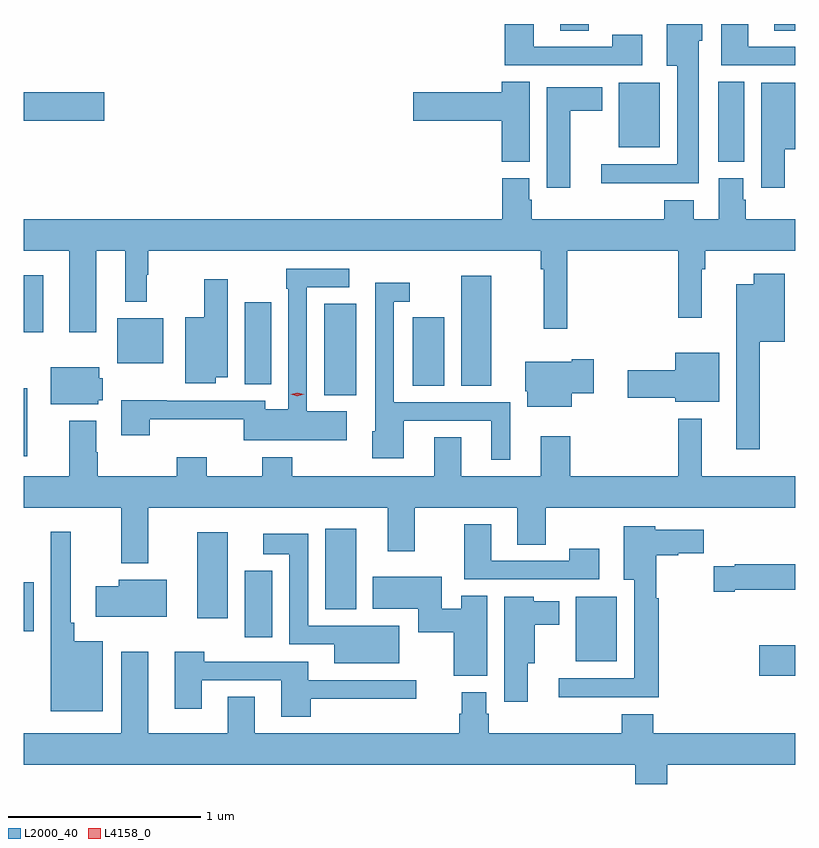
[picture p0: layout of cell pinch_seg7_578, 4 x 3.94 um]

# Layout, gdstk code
import gdstk
lib = gdstk.Library(unit=1e-6, precision=1e-09)
def R(c, l, rs):  # rectangles x0, y0, x1, y1
    for r in rs: c.add(gdstk.rectangle(r[:2], r[2:], *l))
def P(c, l, *ps):  # polygons
    for p in ps: c.add(gdstk.Polygon(p, *l))
L2000_40 = (2000, 40)
L4158_0 = (4158, 0)

pinch_seg7_578 = lib.new_cell('pinch_seg7_578')
R(pinch_seg7_578, L2000_40, [(231.288,1045.034,231.474,1045.192), (230.336,1045.109,230.548,1045.444), (228.62,1045.233,228.763,1045.579), (227.474,1045.265,227.527,1045.519), (228.374,1045.332,228.532,1045.777), (229.037,1045.379,229.198,1045.795), (227.474,1046.172,227.494,1046.524), (229.031,1046.489,229.198,1046.963), (229.49,1046.536,229.654,1046.893), (229.742,1046.536,229.897,1047.106), (228.62,1046.545,228.757,1046.971), (227.96,1046.654,228.199,1046.887), (227.474,1046.814,227.575,1047.109), (231.074,1047.697,231.208,1048.112), (230.558,1047.773,230.77,1048.108), (227.474,1047.911,227.893,1048.058), (230.255,1048.378,230.403,1048.412), (231.365,1048.378,231.474,1048.412)])
P(pinch_seg7_578, L2000_40, [(230.68,1048.357),(230.524,1048.357),(230.524,1048.293),(230.119,1048.293),(230.119,1048.412),(229.967,1048.412),(229.967,1048.197),(230.68,1048.197)],
  [(230.974,1048.326),(230.992,1048.326),(230.992,1048.412),(230.807,1048.412),(230.807,1048.196),(230.861,1048.196),(230.861,1047.684),(230.469,1047.684),(230.469,1047.587),(230.974,1047.587)],
  [(231.474,1048.293),(231.229,1048.293),(231.229,1048.412),(231.089,1048.412),(231.089,1048.197),(231.474,1048.197)],
  [(230.098,1048.112),(229.952,1048.112),(229.952,1048.058),(229.494,1048.058),(229.494,1047.911),(229.952,1047.911),(229.952,1047.697),(230.098,1047.697)],
  [(231.418,1047.764),(231.474,1047.764),(231.474,1048.108),(231.296,1048.108),(231.296,1047.564),(231.418,1047.564)],
  [(230.308,1047.962),(230.473,1047.962),(230.473,1048.084),(230.186,1048.084),(230.186,1047.564),(230.308,1047.564)],
  [(227.474,1047.236),(227.711,1047.236),(227.711,1046.814),(227.851,1046.814),(227.851,1047.236),(228.002,1047.236),(228.002,1046.973),(228.112,1046.973),(228.112,1047.113),(228.119,1047.113),(228.119,1047.236),(230.155,1047.236),(230.155,1047.14),(230.17,1047.14),(230.17,1046.832),(230.291,1046.832),(230.291,1047.236),(230.868,1047.236),(230.868,1046.889),(230.989,1046.889),(230.989,1047.14),(231.007,1047.14),(231.007,1047.236),(231.474,1047.236),(231.474,1047.4),(231.218,1047.4),(231.218,1047.501),(231.205,1047.501),(231.205,1047.612),(231.077,1047.612),(231.077,1047.4),(230.947,1047.4),(230.947,1047.499),(230.795,1047.499),(230.795,1047.4),(230.108,1047.4),(230.108,1047.501),(230.095,1047.501),(230.095,1047.612),(229.955,1047.612),(229.955,1047.4),(227.474,1047.4)],
  [(229.15,1046.404),(228.942,1046.404),(228.942,1047.048),(229.162,1047.048),(229.162,1047.144),(228.834,1047.144),(228.834,1047.041),(228.846,1047.041),(228.846,1046.416),(228.727,1046.416),(228.727,1046.46),(228.215,1046.46),(228.215,1046.462),(227.981,1046.462),(227.981,1046.28),(228.129,1046.28),(228.129,1046.363),(228.614,1046.363),(228.614,1046.255),(229.15,1046.255)],
  [(231.289,1046.765),(231.418,1046.765),(231.418,1047.118),(231.257,1047.118),(231.257,1047.064),(231.167,1047.064),(231.167,1046.208),(231.289,1046.208)],
  [(228.469,1046.582),(228.532,1046.582),(228.532,1047.088),(228.41,1047.088),(228.41,1046.893),(228.311,1046.893),(228.311,1046.549),(228.469,1046.549)],
  [(229.996,1046.451),(229.392,1046.451),(229.392,1046.973),(229.474,1046.973),(229.474,1047.07),(229.296,1047.07),(229.296,1046.301),(229.28,1046.301),(229.28,1046.162),(229.444,1046.162),(229.444,1046.355),(229.898,1046.355),(229.898,1046.154),(229.996,1046.154)],
  [(231.079,1046.707),(230.852,1046.707),(230.852,1046.618),(230.604,1046.618),(230.604,1046.476),(230.852,1046.476),(230.852,1046.453),(231.079,1046.453)],
  [(230.314,1046.497),(230.428,1046.497),(230.428,1046.675),(230.315,1046.675),(230.315,1046.662),(230.075,1046.662),(230.075,1046.508),(230.084,1046.508),(230.084,1046.429),(230.314,1046.429)],
  [(227.862,1046.463),(227.884,1046.463),(227.884,1046.577),(227.866,1046.577),(227.866,1046.632),(227.615,1046.632),(227.615,1046.441),(227.862,1046.441)],
  [(228.121,1045.904),(229.361,1045.904),(229.361,1045.68),(229.501,1045.68),(229.501,1045.904),(230.033,1045.904),(230.033,1045.714),(230.181,1045.714),(230.181,1045.904),(231.474,1045.904),(231.474,1046.068),(230.989,1046.068),(230.989,1046.365),(230.868,1046.365),(230.868,1046.068),(230.306,1046.068),(230.306,1046.275),(230.153,1046.275),(230.153,1046.068),(229.741,1046.068),(229.741,1046.27),(229.601,1046.27),(229.601,1046.068),(228.867,1046.068),(228.867,1046.167),(228.712,1046.167),(228.712,1046.068),(228.423,1046.068),(228.423,1046.167),(228.268,1046.167),(228.268,1046.068),(227.859,1046.068),(227.859,1046.192),(227.851,1046.192),(227.851,1046.356),(227.711,1046.356),(227.711,1046.068),(227.474,1046.068),(227.474,1045.904),(227.981,1045.904),(227.981,1045.616),(228.121,1045.616)],
  [(230.458,1045.693),(230.302,1045.693),(230.302,1045.629),(229.897,1045.629),(229.897,1045.819),(229.757,1045.819),(229.757,1045.533),(230.458,1045.533)],
  [(230.765,1045.436),(230.752,1045.436),(230.752,1045.658),(230.868,1045.658),(230.868,1045.669),(230.998,1045.669),(230.998,1045.792),(230.748,1045.792),(230.748,1045.81),(230.585,1045.81),(230.585,1045.532),(230.639,1045.532),(230.639,1045.02),(230.247,1045.02),(230.247,1044.923),(230.765,1044.923)],
  [(227.884,1045.213),(227.737,1045.213),(227.737,1045.309),(227.719,1045.309),(227.719,1045.78),(227.615,1045.78),(227.615,1044.851),(227.884,1044.851)],
  [(229.42,1045.294),(229.194,1045.294),(229.194,1045.293),(228.948,1045.293),(228.948,1045.771),(228.717,1045.771),(228.717,1045.664),(228.852,1045.664),(228.852,1045.197),(229.085,1045.197),(229.085,1045.1),(229.42,1045.1)],
  [(231.16,1045.481),(231.474,1045.481),(231.474,1045.611),(231.16,1045.611),(231.16,1045.602),(231.05,1045.602),(231.05,1045.469),(231.16,1045.469)],
  [(229.876,1045.448),(229.742,1045.448),(229.742,1045.381),(229.642,1045.381),(229.642,1045.546),(229.283,1045.546),(229.283,1045.382),(229.52,1045.382),(229.52,1045.259),(229.703,1045.259),(229.703,1045.034),(229.876,1045.034)],
  [(228.217,1045.531),(227.966,1045.531),(227.966,1045.498),(227.847,1045.498),(227.847,1045.34),(228.217,1045.34)],
  [(230.086,1045.1),(230.122,1045.1),(230.122,1045.298),(230.251,1045.298),(230.251,1045.42),(230.118,1045.42),(230.118,1045.444),(229.964,1045.444),(229.964,1044.9),(230.086,1044.9)],
  [(227.981,1045.159),(227.981,1044.736),(227.474,1044.736),(227.474,1044.572),(230.645,1044.572),(230.645,1044.473),(230.81,1044.473),(230.81,1044.572),(231.474,1044.572),(231.474,1044.736),(230.738,1044.736),(230.738,1044.835),(230.573,1044.835),(230.573,1044.736),(229.886,1044.736),(229.886,1044.837),(229.873,1044.837),(229.873,1044.949),(229.745,1044.949),(229.745,1044.837),(229.733,1044.837),(229.733,1044.736),(228.673,1044.736),(228.673,1044.926),(228.533,1044.926),(228.533,1044.736),(228.121,1044.736),(228.121,1045.159)],
  [(228.962,1044.914),(229.51,1044.914),(229.51,1045.011),(228.949,1045.011),(228.949,1045.107),(228.41,1045.107),(228.41,1045.159),(228.257,1045.159),(228.257,1044.864),(228.397,1044.864),(228.397,1045.011),(228.809,1045.011),(228.809,1044.822),(228.962,1044.822)])
P(pinch_seg7_578, L4158_0, [(228.893,1046.483),(228.858,1046.493),(228.858,1046.493),(228.858,1046.493),(228.893,1046.502),(228.928,1046.492),(228.928,1046.492),(228.928,1046.492)])

lib.write_gds('pinch_seg7_578.gds')
